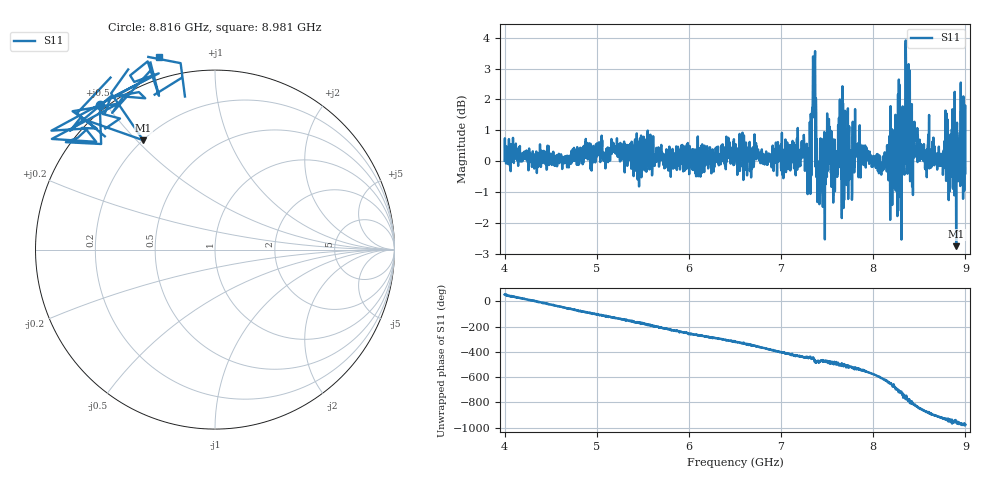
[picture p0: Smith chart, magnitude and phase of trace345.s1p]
! Created with skrf 1.8.0 (http://scikit-rf.org).
# Hz S RI R 50.0
!freq ReS11 ImS11
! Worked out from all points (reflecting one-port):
!   1601 points, 4 GHz to 9 GHz, reference 50 ohm
!   lowest |S11| = -2.7 dB at 8.9 GHz (marker M1), VSWR 6.37, Z = 10.1 + j26.1 ohm
!   phase of S11 starts at 54 deg and turns -1031 deg over the sweep
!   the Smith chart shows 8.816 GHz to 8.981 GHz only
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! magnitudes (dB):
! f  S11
! 4 GHz  0.0
! 4.625 GHz  -0.3
! 5.25 GHz  0.1
! 5.875 GHz  0.3
! 6.5 GHz  0.1
! 7.125 GHz  0.7
! 7.294 GHz  0.3
! 7.312 GHz  1.3
! 7.356 GHz  3.3
! 7.369 GHz  3.6
! 7.397 GHz  -0.8
! 7.416 GHz  -1.4
! 7.472 GHz  0.0
! 7.512 GHz  0.8
! 7.591 GHz  -0.1
! 7.647 GHz  0.9
! 7.75 GHz  0.0
! 7.828 GHz  0.1
! 8.075 GHz  0.0
! 8.222 GHz  0.9
! 8.259 GHz  1.4
! 8.312 GHz  1.5
! 8.334 GHz  -0.2
! 8.375 GHz  1.4
! 8.447 GHz  1.3
! 8.9 GHz  -2.7
! 8.972 GHz  0.5
! 9 GHz  -0.4
